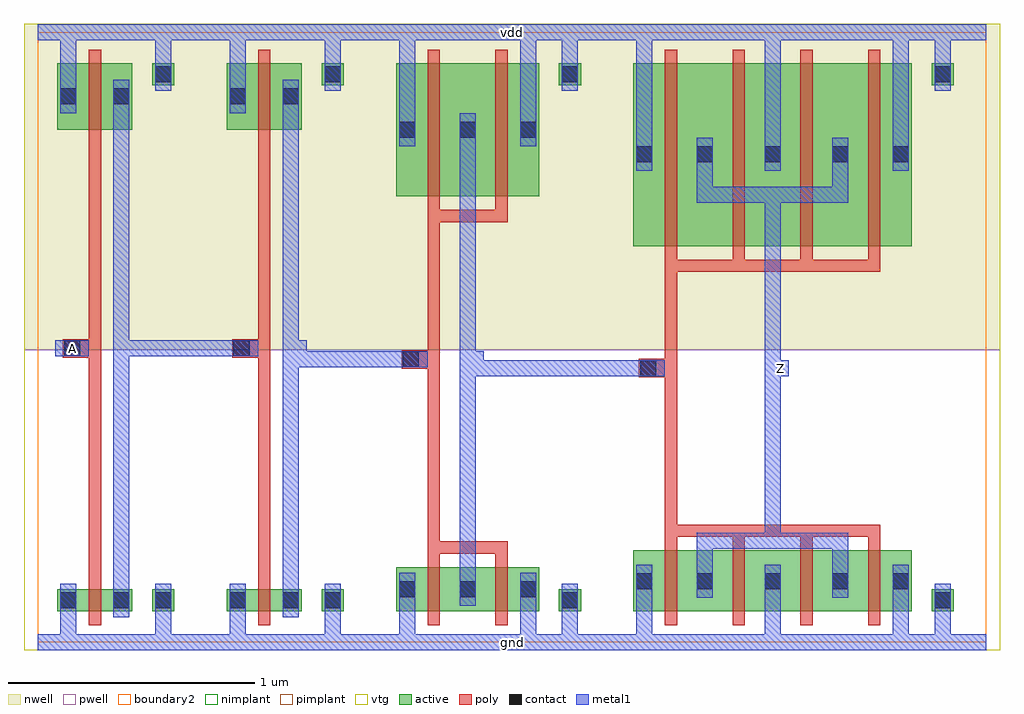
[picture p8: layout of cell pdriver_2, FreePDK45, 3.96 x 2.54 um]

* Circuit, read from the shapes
.subckt pdriver_2 A Z gnd vdd
M1 pinv_1_1/A A gnd gnd nfet w=0.09u l=0.05u
M2 pinv_8_2/A pinv_1_1/A gnd gnd nfet w=0.09u l=0.05u
M3 pinv_10_3/A pinv_8_2/A gnd gnd nfet w=0.18u l=0.05u m=2
M4 Z pinv_10_3/A gnd gnd nfet w=0.2475u l=0.05u m=4
M5 pinv_1_1/A A vdd vdd pfet w=0.27u l=0.05u
M6 pinv_8_2/A pinv_1_1/A vdd vdd pfet w=0.27u l=0.05u
M7 pinv_10_3/A pinv_8_2/A vdd vdd pfet w=0.54u l=0.05u m=2
M8 Z pinv_10_3/A vdd vdd pfet w=0.7425u l=0.05u m=4
.ends

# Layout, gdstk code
import gdstk
lib = gdstk.Library(unit=1e-6, precision=5e-10)
def R(c, l, rs):  # rectangles x0, y0, x1, y1
    for r in rs: c.add(gdstk.rectangle(r[:2], r[2:], *l))
def A(c, l, x, y, w, h, nx, ny, dx, dy):  # array of equal rectangles
    R(c, l, [(x+i*dx, y+j*dy, x+i*dx+w, y+j*dy+h) for i in range(nx) for j in range(ny)])
active = (1, 0)
pwell = (2, 0)
nwell = (3, 0)
nimplant = (4, 0)
pimplant = (5, 0)
vtg = (6, 0)
poly = (9, 0)
contact = (10, 0)
metal1 = (11, 0)
boundary2 = (239, 0)

contact_10 = lib.new_cell('contact_10')
R(contact_10, active, [(0,0.0225,0.09,0.1125)])
R(contact_10, nwell, [(-0.055,-0.0325,0.145,0.1675)])
R(contact_10, pimplant, [(0,0.0225,0.09,0.1125)])
R(contact_10, contact, [(0.0125,0.035,0.0775,0.1)])
R(contact_10, metal1, [(0.0125,0,0.0775,0.135)])
R(contact_10, boundary2, [(-0.055,-0.0325,0.145,0.1675)])

pmos_m1_w0_270_sm1_dm1_d = lib.new_cell('pmos_m1_w0_270_sm1_dm1_da_p')
R(pmos_m1_w0_270_sm1_dm1_d, active, [(0,0,0.305,0.27)])
R(pmos_m1_w0_270_sm1_dm1_d, nwell, [(-0.08,-0.08,0.385,0.35)])
R(pmos_m1_w0_270_sm1_dm1_d, pimplant, [(0,0,0.305,0.27)])
R(pmos_m1_w0_270_sm1_dm1_d, vtg, [(-0.08,-0.08,0.385,0.35)])
R(pmos_m1_w0_270_sm1_dm1_d, poly, [(0.1275,-0.055,0.1775,0.325), (0.1275,-0.055,0.1775,0.325)])
R(pmos_m1_w0_270_sm1_dm1_d, metal1, [(0.0125,0.0675,0.0775,0.2025), (0.2275,0.0675,0.2925,0.2025)])
R(pmos_m1_w0_270_sm1_dm1_d, boundary2, [(-0.08,-0.08,0.385,0.35)])
pmos_m1_w0_270_sm1_dm1_d.add(gdstk.Reference(contact_10, (0,0.0675)))
pmos_m1_w0_270_sm1_dm1_d.add(gdstk.Reference(contact_10, (0.215,0.0675)))
pmos_m1_w0_270_sm1_dm1_d.add(gdstk.Label('S', (0.045,0.135), layer=11, texttype=0))
pmos_m1_w0_270_sm1_dm1_d.add(gdstk.Label('D', (0.26,0.135), layer=11, texttype=0))
pmos_m1_w0_270_sm1_dm1_d.add(gdstk.Label('G', (0.1525,0.135), layer=9, texttype=0))

contact_9 = lib.new_cell('contact_9')
R(contact_9, active, [(0,0.0225,0.09,0.1125)])
R(contact_9, pwell, [(-0.055,-0.0325,0.145,0.1675)])
R(contact_9, nimplant, [(0,0.0225,0.09,0.1125)])
R(contact_9, contact, [(0.0125,0.035,0.0775,0.1)])
R(contact_9, metal1, [(0.0125,0,0.0775,0.135)])
R(contact_9, boundary2, [(-0.055,-0.0325,0.145,0.1675)])

nmos_m1_w0_090_sm1_dm1_d = lib.new_cell('nmos_m1_w0_090_sm1_dm1_da_p')
R(nmos_m1_w0_090_sm1_dm1_d, active, [(0,0,0.305,0.09)])
R(nmos_m1_w0_090_sm1_dm1_d, pwell, [(-0.08,-0.08,0.385,0.17)])
R(nmos_m1_w0_090_sm1_dm1_d, nimplant, [(0,0,0.305,0.09)])
R(nmos_m1_w0_090_sm1_dm1_d, vtg, [(-0.08,-0.08,0.385,0.17)])
R(nmos_m1_w0_090_sm1_dm1_d, poly, [(0.1275,-0.055,0.1775,0.145), (0.1275,-0.055,0.1775,0.145)])
R(nmos_m1_w0_090_sm1_dm1_d, metal1, [(0.0125,-0.0225,0.0775,0.1125), (0.2275,-0.0225,0.2925,0.1125)])
R(nmos_m1_w0_090_sm1_dm1_d, boundary2, [(-0.08,-0.08,0.385,0.17)])
nmos_m1_w0_090_sm1_dm1_d.add(gdstk.Reference(contact_9, (0,-0.0225)))
nmos_m1_w0_090_sm1_dm1_d.add(gdstk.Reference(contact_9, (0.215,-0.0225)))
nmos_m1_w0_090_sm1_dm1_d.add(gdstk.Label('S', (0.045,0.045), layer=11, texttype=0))
nmos_m1_w0_090_sm1_dm1_d.add(gdstk.Label('D', (0.26,0.045), layer=11, texttype=0))
nmos_m1_w0_090_sm1_dm1_d.add(gdstk.Label('G', (0.1525,0.045), layer=9, texttype=0))

contact_11 = lib.new_cell('contact_11')
R(contact_11, active, [(0,0.0225,0.09,0.1125)])
R(contact_11, nwell, [(-0.055,-0.0325,0.145,0.1675)])
R(contact_11, nimplant, [(0,0.0225,0.09,0.1125)])
R(contact_11, contact, [(0.0125,0.035,0.0775,0.1)])
R(contact_11, metal1, [(0.0125,0,0.0775,0.135)])
R(contact_11, boundary2, [(-0.055,-0.0325,0.145,0.1675)])

contact_12 = lib.new_cell('contact_12')
R(contact_12, active, [(0,0.0225,0.09,0.1125)])
R(contact_12, pwell, [(-0.055,-0.0325,0.145,0.1675)])
R(contact_12, pimplant, [(0,0.0225,0.09,0.1125)])
R(contact_12, contact, [(0.0125,0.035,0.0775,0.1)])
R(contact_12, metal1, [(0.0125,0,0.0775,0.135)])
R(contact_12, boundary2, [(-0.055,-0.0325,0.145,0.1675)])

contact_13 = lib.new_cell('contact_13')
R(contact_13, poly, [(0.03,0,0.105,0.075)])
R(contact_13, contact, [(0.035,0.005,0.1,0.07)])
R(contact_13, metal1, [(0,0.005,0.135,0.07)])
R(contact_13, boundary2, [(0,0,0.135,0.075)])

pinv_1 = lib.new_cell('pinv_1')
R(pinv_1, pwell, [(-0.055,-0.0325,0.7425,1.1875)])
R(pinv_1, nwell, [(-0.055,1.1875,0.7425,2.51)])
R(pinv_1, vtg, [(-0.055,-0.0325,0.7425,1.1875), (-0.055,1.1875,0.7425,2.51)])
R(pinv_1, poly, [(0.2075,0.27,0.2575,2.025), (0.14,1.155,0.2075,1.23)])
R(pinv_1, metal1, [(0,-0.0325,0.6875,0.0325), (0.0925,-0.0325,0.1575,0.1025), (0.4775,0,0.5425,0.17), (0.3075,0.1025,0.3725,2.2825), (0.0725,1.16,0.2075,1.225), (0.34,1.16,0.405,1.225), (0.0925,2.1475,0.1575,2.5075), (0.4775,2.305,0.5425,2.475), (0,2.4425,0.6875,2.5075)])
R(pinv_1, boundary2, [(0,0,0.6875,2.475), (0,0,0.6875,2.475)])
pinv_1.add(gdstk.Reference(pmos_m1_w0_270_sm1_dm1_d, (0.08,2.08)))
pinv_1.add(gdstk.Reference(nmos_m1_w0_090_sm1_dm1_d, (0.08,0.125)))
pinv_1.add(gdstk.Reference(contact_11, (0.465,2.2375)))
pinv_1.add(gdstk.Reference(contact_12, (0.465,0.1025)))
pinv_1.add(gdstk.Reference(contact_13, (0.0725,1.155)))
pinv_1.add(gdstk.Label('A', (0.14,1.1925), layer=11, texttype=0))
pinv_1.add(gdstk.Label('Z', (0.3725,1.1925), layer=11, texttype=0))
pinv_1.add(gdstk.Label('gnd', (0.344,0), layer=11, texttype=0))
pinv_1.add(gdstk.Label('vdd', (0.344,2.475), layer=11, texttype=0))

pmos_m2_w0_540_sm1_dm1_d = lib.new_cell('pmos_m2_w0_540_sm1_dm1_da_p')
R(pmos_m2_w0_540_sm1_dm1_d, active, [(0,0,0.58,0.54)])
R(pmos_m2_w0_540_sm1_dm1_d, nwell, [(-0.08,-0.08,0.66,0.62)])
R(pmos_m2_w0_540_sm1_dm1_d, pimplant, [(0,0,0.58,0.54)])
R(pmos_m2_w0_540_sm1_dm1_d, vtg, [(-0.08,-0.08,0.66,0.62)])
R(pmos_m2_w0_540_sm1_dm1_d, poly, [(0.1275,-0.105,0.4525,-0.055), (0.1275,-0.055,0.1775,0.595), (0.4025,-0.055,0.4525,0.595)])
A(pmos_m2_w0_540_sm1_dm1_d, metal1, 0.0125, 0.2025, 0.065, 0.135, 3, 1, 0.245, 0)
R(pmos_m2_w0_540_sm1_dm1_d, boundary2, [(-0.08,-0.105,0.66,0.62)])
pmos_m2_w0_540_sm1_dm1_d.add(gdstk.Reference(contact_10, (0,0.2025)))
pmos_m2_w0_540_sm1_dm1_d.add(gdstk.Reference(contact_10, (0.245,0.2025)))
pmos_m2_w0_540_sm1_dm1_d.add(gdstk.Reference(contact_10, (0.49,0.2025)))
pmos_m2_w0_540_sm1_dm1_d.add(gdstk.Label('S', (0.535,0.27), layer=11, texttype=0))
pmos_m2_w0_540_sm1_dm1_d.add(gdstk.Label('S', (0.045,0.27), layer=11, texttype=0))
pmos_m2_w0_540_sm1_dm1_d.add(gdstk.Label('D', (0.29,0.27), layer=11, texttype=0))
pmos_m2_w0_540_sm1_dm1_d.add(gdstk.Label('G', (0.29,-0.08), layer=9, texttype=0))

nmos_m2_w0_180_sm1_dm1_d = lib.new_cell('nmos_m2_w0_180_sm1_dm1_da_p')
R(nmos_m2_w0_180_sm1_dm1_d, active, [(0,0,0.58,0.18)])
R(nmos_m2_w0_180_sm1_dm1_d, pwell, [(-0.08,-0.08,0.66,0.26)])
R(nmos_m2_w0_180_sm1_dm1_d, nimplant, [(0,0,0.58,0.18)])
R(nmos_m2_w0_180_sm1_dm1_d, vtg, [(-0.08,-0.08,0.66,0.26)])
R(nmos_m2_w0_180_sm1_dm1_d, poly, [(0.1275,-0.055,0.1775,0.235), (0.4025,-0.055,0.4525,0.235), (0.1275,0.235,0.4525,0.285)])
A(nmos_m2_w0_180_sm1_dm1_d, metal1, 0.0125, 0.0225, 0.065, 0.135, 3, 1, 0.245, 0)
R(nmos_m2_w0_180_sm1_dm1_d, boundary2, [(-0.08,-0.08,0.66,0.285)])
nmos_m2_w0_180_sm1_dm1_d.add(gdstk.Reference(contact_9, (0,0.0225)))
nmos_m2_w0_180_sm1_dm1_d.add(gdstk.Reference(contact_9, (0.245,0.0225)))
nmos_m2_w0_180_sm1_dm1_d.add(gdstk.Reference(contact_9, (0.49,0.0225)))
nmos_m2_w0_180_sm1_dm1_d.add(gdstk.Label('S', (0.535,0.09), layer=11, texttype=0))
nmos_m2_w0_180_sm1_dm1_d.add(gdstk.Label('S', (0.045,0.09), layer=11, texttype=0))
nmos_m2_w0_180_sm1_dm1_d.add(gdstk.Label('D', (0.29,0.09), layer=11, texttype=0))
nmos_m2_w0_180_sm1_dm1_d.add(gdstk.Label('G', (0.29,0.26), layer=9, texttype=0))

pinv_8 = lib.new_cell('pinv_8')
R(pinv_8, pwell, [(-0.055,-0.0325,1.0175,1.1875)])
R(pinv_8, nwell, [(-0.055,1.1875,1.0175,2.51)])
R(pinv_8, vtg, [(-0.055,-0.0325,1.0175,1.1875), (-0.055,1.1875,1.0175,2.51)])
R(pinv_8, poly, [(0.2075,0.41,0.2575,1.705), (0.14,1.11,0.2075,1.185)])
R(pinv_8, metal1, [(0,-0.0325,0.9625,0.0325), (0.0925,-0.0325,0.1575,0.1475), (0.5825,-0.0325,0.6475,0.1475), (0.7525,0,0.8175,0.17), (0.3375,0.1475,0.4025,2.1475), (0.0725,1.115,0.2075,1.18), (0.37,1.115,0.435,1.18), (0.0925,2.0125,0.1575,2.5075), (0.5825,2.0125,0.6475,2.5075), (0.7525,2.305,0.8175,2.475), (0,2.4425,0.9625,2.5075)])
R(pinv_8, boundary2, [(0,0,0.9625,2.475), (0,0,0.9625,2.475)])
pinv_8.add(gdstk.Reference(pmos_m2_w0_540_sm1_dm1_d, (0.08,1.81)))
pinv_8.add(gdstk.Reference(nmos_m2_w0_180_sm1_dm1_d, (0.08,0.125)))
pinv_8.add(gdstk.Reference(contact_11, (0.74,2.2375)))
pinv_8.add(gdstk.Reference(contact_12, (0.74,0.1025)))
pinv_8.add(gdstk.Reference(contact_13, (0.0725,1.11)))
pinv_8.add(gdstk.Label('A', (0.14,1.1475), layer=11, texttype=0))
pinv_8.add(gdstk.Label('Z', (0.4025,1.1475), layer=11, texttype=0))
pinv_8.add(gdstk.Label('gnd', (0.481,0), layer=11, texttype=0))
pinv_8.add(gdstk.Label('vdd', (0.481,2.475), layer=11, texttype=0))

pmos_m4_w0_743_sm1_dm1_d = lib.new_cell('pmos_m4_w0_743_sm1_dm1_da_p')
R(pmos_m4_w0_743_sm1_dm1_d, active, [(0,0,1.13,0.7425)])
R(pmos_m4_w0_743_sm1_dm1_d, nwell, [(-0.08,-0.08,1.21,0.8225)])
R(pmos_m4_w0_743_sm1_dm1_d, pimplant, [(0,0,1.13,0.7425)])
R(pmos_m4_w0_743_sm1_dm1_d, vtg, [(-0.08,-0.08,1.21,0.8225)])
A(pmos_m4_w0_743_sm1_dm1_d, poly, 0.1275, -0.055, 0.05, 0.8525, 4, 1, 0.275, 0)
R(pmos_m4_w0_743_sm1_dm1_d, poly, [(0.1275,-0.105,1.0025,-0.055)])
A(pmos_m4_w0_743_sm1_dm1_d, metal1, 0.0125, 0.305, 0.065, 0.135, 3, 1, 0.52, 0)
R(pmos_m4_w0_743_sm1_dm1_d, metal1, [(0.2575,0.175,0.8725,0.24), (0.2575,0.205,0.3225,0.37), (0.8075,0.205,0.8725,0.37)])
R(pmos_m4_w0_743_sm1_dm1_d, boundary2, [(-0.08,-0.105,1.21,0.8225)])
pmos_m4_w0_743_sm1_dm1_d.add(gdstk.Reference(contact_10, (0,0.305)))
pmos_m4_w0_743_sm1_dm1_d.add(gdstk.Reference(contact_10, (0.245,0.305)))
pmos_m4_w0_743_sm1_dm1_d.add(gdstk.Reference(contact_10, (0.52,0.305)))
pmos_m4_w0_743_sm1_dm1_d.add(gdstk.Reference(contact_10, (0.795,0.305)))
pmos_m4_w0_743_sm1_dm1_d.add(gdstk.Reference(contact_10, (1.04,0.305)))
pmos_m4_w0_743_sm1_dm1_d.add(gdstk.Label('S', (0.565,0.3725), layer=11, texttype=0))
pmos_m4_w0_743_sm1_dm1_d.add(gdstk.Label('S', (1.085,0.3725), layer=11, texttype=0))
pmos_m4_w0_743_sm1_dm1_d.add(gdstk.Label('S', (0.045,0.3725), layer=11, texttype=0))
pmos_m4_w0_743_sm1_dm1_d.add(gdstk.Label('D', (0.565,0.2075), layer=11, texttype=0))
pmos_m4_w0_743_sm1_dm1_d.add(gdstk.Label('G', (0.565,-0.08), layer=9, texttype=0))

nmos_m4_w0_247_sm1_dm1_d = lib.new_cell('nmos_m4_w0_247_sm1_dm1_da_p')
R(nmos_m4_w0_247_sm1_dm1_d, active, [(0,0,1.13,0.2475)])
R(nmos_m4_w0_247_sm1_dm1_d, pwell, [(-0.08,-0.08,1.21,0.3275)])
R(nmos_m4_w0_247_sm1_dm1_d, nimplant, [(0,0,1.13,0.2475)])
R(nmos_m4_w0_247_sm1_dm1_d, vtg, [(-0.08,-0.08,1.21,0.3275)])
A(nmos_m4_w0_247_sm1_dm1_d, poly, 0.1275, -0.055, 0.05, 0.3575, 4, 1, 0.275, 0)
R(nmos_m4_w0_247_sm1_dm1_d, poly, [(0.1275,0.3025,1.0025,0.3525)])
A(nmos_m4_w0_247_sm1_dm1_d, metal1, 0.0125, 0.055, 0.065, 0.135, 3, 1, 0.52, 0)
R(nmos_m4_w0_247_sm1_dm1_d, metal1, [(0.2575,0.125,0.3225,0.29), (0.8075,0.125,0.8725,0.29), (0.2575,0.255,0.8725,0.32)])
R(nmos_m4_w0_247_sm1_dm1_d, boundary2, [(-0.08,-0.08,1.21,0.3525)])
nmos_m4_w0_247_sm1_dm1_d.add(gdstk.Reference(contact_9, (0,0.055)))
nmos_m4_w0_247_sm1_dm1_d.add(gdstk.Reference(contact_9, (0.245,0.055)))
nmos_m4_w0_247_sm1_dm1_d.add(gdstk.Reference(contact_9, (0.52,0.055)))
nmos_m4_w0_247_sm1_dm1_d.add(gdstk.Reference(contact_9, (0.795,0.055)))
nmos_m4_w0_247_sm1_dm1_d.add(gdstk.Reference(contact_9, (1.04,0.055)))
nmos_m4_w0_247_sm1_dm1_d.add(gdstk.Label('S', (0.045,0.1225), layer=11, texttype=0))
nmos_m4_w0_247_sm1_dm1_d.add(gdstk.Label('S', (1.085,0.1225), layer=11, texttype=0))
nmos_m4_w0_247_sm1_dm1_d.add(gdstk.Label('S', (0.565,0.1225), layer=11, texttype=0))
nmos_m4_w0_247_sm1_dm1_d.add(gdstk.Label('D', (0.565,0.2875), layer=11, texttype=0))
nmos_m4_w0_247_sm1_dm1_d.add(gdstk.Label('G', (0.565,0.3275), layer=9, texttype=0))

pinv_10 = lib.new_cell('pinv_10')
R(pinv_10, pwell, [(-0.055,-0.0325,1.5675,1.1875)])
R(pinv_10, nwell, [(-0.055,1.1875,1.5675,2.51)])
R(pinv_10, vtg, [(-0.055,-0.0325,1.5675,1.1875), (-0.055,1.1875,1.5675,2.51)])
R(pinv_10, poly, [(0.2075,0.4775,0.2575,1.5025), (0.14,1.075,0.2075,1.15)])
A(pinv_10, metal1, 0.0925, -0.0325, 0.065, 0.2125, 3, 1, 0.52, 0)
A(pinv_10, metal1, 0.0925, 1.9125, 0.065, 0.595, 3, 1, 0.52, 0)
R(pinv_10, metal1, [(0,-0.0325,1.5125,0.0325), (1.3025,0,1.3675,0.17), (0.6125,0.38,0.6775,1.8475), (0.0725,1.08,0.2075,1.145), (0.645,1.08,0.71,1.145), (1.3025,2.305,1.3675,2.475), (0,2.4425,1.5125,2.5075)])
R(pinv_10, boundary2, [(0,0,1.5125,2.475), (0,0,1.5125,2.475)])
pinv_10.add(gdstk.Reference(pmos_m4_w0_743_sm1_dm1_d, (0.08,1.6075)))
pinv_10.add(gdstk.Reference(nmos_m4_w0_247_sm1_dm1_d, (0.08,0.125)))
pinv_10.add(gdstk.Reference(contact_11, (1.29,2.2375)))
pinv_10.add(gdstk.Reference(contact_12, (1.29,0.1025)))
pinv_10.add(gdstk.Reference(contact_13, (0.0725,1.075)))
pinv_10.add(gdstk.Label('A', (0.14,1.1125), layer=11, texttype=0))
pinv_10.add(gdstk.Label('Z', (0.6775,1.1125), layer=11, texttype=0))
pinv_10.add(gdstk.Label('gnd', (0.756,0), layer=11, texttype=0))
pinv_10.add(gdstk.Label('vdd', (0.756,2.475), layer=11, texttype=0))

pdriver_2 = lib.new_cell('pdriver_2')
R(pdriver_2, pwell, [(-0.055,-0.0325,3.905,1.1875)])
R(pdriver_2, nwell, [(-0.055,1.1875,3.905,2.51)])
R(pdriver_2, vtg, [(-0.055,-0.0325,3.905,1.1875), (-0.055,1.1875,3.905,2.51)])
R(pdriver_2, metal1, [(0,-0.0325,3.85,0.0325), (1.745,1.08,1.81,1.145), (1.7775,1.08,2.4775,1.145), (2.9825,1.08,3.0475,1.145), (1.745,1.1125,1.81,1.1475), (1.0275,1.115,1.0925,1.18), (1.06,1.115,1.515,1.18), (1.0275,1.1475,1.0925,1.1925), (0.0725,1.16,0.2075,1.225), (0.3725,1.16,0.8275,1.225), (0,2.4425,3.85,2.5075)])
R(pdriver_2, boundary2, [(0,0,3.85,2.475), (0,0,3.85,2.475)])
pdriver_2.add(gdstk.Reference(pinv_1, (0,0)))
pdriver_2.add(gdstk.Reference(pinv_1, (0.6875,0)))
pdriver_2.add(gdstk.Reference(pinv_8, (1.375,0)))
pdriver_2.add(gdstk.Reference(pinv_10, (2.3375,0)))
pdriver_2.add(gdstk.Label('Z', (3.015,1.1125), layer=11, texttype=0))
pdriver_2.add(gdstk.Label('A', (0.14,1.1925), layer=11, texttype=0))
pdriver_2.add(gdstk.Label('gnd', (1.925,0), layer=11, texttype=0))
pdriver_2.add(gdstk.Label('vdd', (1.925,2.475), layer=11, texttype=0))

lib.write_gds('pdriver_2.gds')
